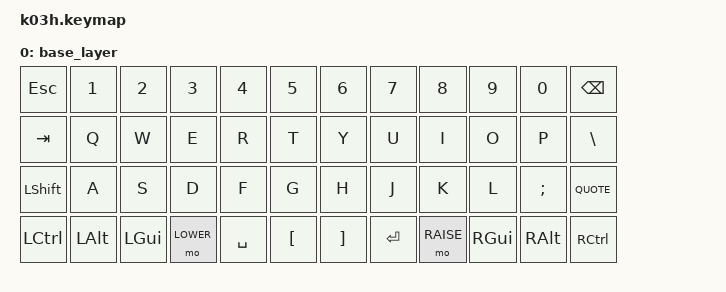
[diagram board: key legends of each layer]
#include <behaviors.dtsi>
#include <dt-bindings/zmk/keys.h>

/ {
    keymap {
        compatible = "zmk,keymap";

        base_layer {
            bindings = <
                &kp ESC &kp 1 &kp 2 &kp 3 &kp 4 &kp 5 &kp 6 &kp 7 &kp 8 &kp 9 &kp 0 &kp BACKSPACE
                &kp TAB &kp Q &kp W &kp E &kp R &kp T &kp Y &kp U &kp I &kp O &kp P &kp BACKSLASH
                &kp LEFT_SHIFT &kp A &kp S &kp D &kp F &kp G &kp H &kp J &kp K &kp L &kp SEMICOLON &kp QUOTE
                &kp LEFT_CONTROL &kp LEFT_ALT &kp LEFT_GUI &mo LOWER &kp SPACE &kp LEFT_BRACKET &kp RIGHT_BRACKET &kp ENTER &mo RAISE &kp RIGHT_GUI &kp RIGHT_ALT &kp RIGHT_CONTROL
            >;
        };
    };
};

